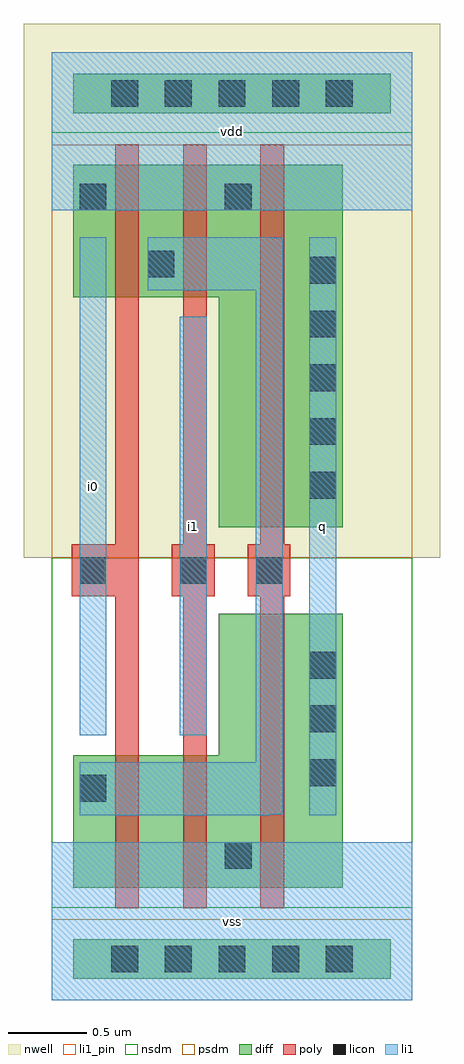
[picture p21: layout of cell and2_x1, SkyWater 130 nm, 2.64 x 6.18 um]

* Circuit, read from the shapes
.subckt and2_x1 i0 i1 q vdd vss
XM1 n1 i0 n2 VSUBS sky130_fd_pr__nfet_01v8 w=0.84 l=0.15
XM2 vss i1 n1 VSUBS sky130_fd_pr__nfet_01v8 w=0.84 l=0.15
XM3 q n2 vss VSUBS sky130_fd_pr__nfet_01v8 w=1.735 l=0.15
XM4 n2 i0 vdd n3 sky130_fd_pr__pfet_01v8 w=0.84 l=0.15
XM5 vdd i1 n2 n3 sky130_fd_pr__pfet_01v8 w=0.84 l=0.15
XM6 q n2 vdd n3 sky130_fd_pr__pfet_01v8 w=2.295 l=0.15
.ends

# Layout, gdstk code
import gdstk
lib = gdstk.Library(unit=1e-6, precision=1e-09)
def R(c, l, rs):  # rectangles x0, y0, x1, y1
    for r in rs: c.add(gdstk.rectangle(r[:2], r[2:], *l))
def A(c, l, x, y, w, h, nx, ny, dx, dy):  # array of equal rectangles
    R(c, l, [(x+i*dx, y+j*dy, x+i*dx+w, y+j*dy+h) for i in range(nx) for j in range(ny)])
def P(c, l, *ps):  # polygons
    for p in ps: c.add(gdstk.Polygon(p, *l))
nwell = (64, 20)
diff = (65, 20)
poly = (66, 20)
licon = (66, 44)
li1_pin = (67, 16)
li1 = (67, 20)
nsdm = (93, 44)
psdm = (94, 20)

and2_x1 = lib.new_cell('and2_x1')
R(and2_x1, nwell, [(-0.18,2.8,2.46,6.18)])
R(and2_x1, diff, [(0.135,0.135,2.145,0.385), (0.135,5.615,2.145,5.865)])
P(and2_x1, diff, [(1.055,2.995),(1.055,4.45),(0.135,4.45),(0.135,5.29),(1.84,5.29),(1.84,2.995)],
  [(0.135,0.71),(0.135,1.55),(1.055,1.55),(1.055,2.445),(1.84,2.445),(1.84,0.71)])
P(and2_x1, poly, [(1.32,0.58),(1.32,2.555),(1.24,2.555),(1.24,2.885),(1.32,2.885),(1.32,5.42),(1.47,5.42),(1.47,2.885),(1.51,2.885),(1.51,2.555),(1.47,2.555),(1.47,0.58)],
  [(0.4,0.58),(0.4,2.555),(0.125,2.555),(0.125,2.885),(0.4,2.885),(0.4,5.42),(0.55,5.42),(0.55,0.58)],
  [(0.83,0.58),(0.83,2.555),(0.76,2.555),(0.76,2.885),(0.83,2.885),(0.83,5.42),(0.98,5.42),(0.98,2.885),(1.03,2.885),(1.03,2.555),(0.98,2.555),(0.98,0.58)])
A(and2_x1, licon, 0.375, 0.175, 0.17, 0.17, 5, 2, 0.34, 5.48)
A(and2_x1, licon, 1.63, 1.355, 0.17, 0.17, 1, 3, 0, 0.34)
A(and2_x1, licon, 1.63, 3.175, 0.17, 0.17, 1, 5, 0, 0.34)
R(and2_x1, licon, [(1.095,0.83,1.265,1), (0.175,1.255,0.345,1.425), (0.175,2.635,0.345,2.805), (0.81,2.635,0.98,2.805), (1.29,2.635,1.46,2.805), (0.605,4.575,0.775,4.745), (0.175,5,0.345,5.17), (1.095,5,1.265,5.17)])
R(and2_x1, li1_pin, [(0,0,2.28,1), (1.63,1.17,1.8,4.83), (0.175,1.675,0.345,4.83), (0.81,1.675,0.98,4.325), (0,5,2.28,6)])
R(and2_x1, li1, [(0,0,2.28,1), (1.63,1.17,1.8,4.83), (0.175,1.675,0.345,4.83), (0.81,1.675,0.98,4.325), (0,5,2.28,6)])
P(and2_x1, li1, [(0.175,1.17),(0.175,1.505),(1.29,1.505),(1.29,4.495),(0.605,4.495),(0.605,4.83),(1.375,4.83),(1.375,4.825),(1.46,4.825),(1.46,1.175),(1.375,1.175),(1.375,1.17)])
R(and2_x1, nsdm, [(0,0.585,2.28,2.8), (0,5.49,2.28,6)])
R(and2_x1, psdm, [(0,0,2.28,0.51), (0,2.8,2.28,5.415)])
and2_x1.add(gdstk.Label('vdd', (1.14,5.5), layer=67, texttype=16))
and2_x1.add(gdstk.Label('vss', (1.14,0.5), layer=67, texttype=16))
and2_x1.add(gdstk.Label('i0', (0.26,3.253), layer=67, texttype=16))
and2_x1.add(gdstk.Label('i1', (0.895,3), layer=67, texttype=16))
and2_x1.add(gdstk.Label('q', (1.715,3), layer=67, texttype=16))

lib.write_gds('and2_x1.gds')
